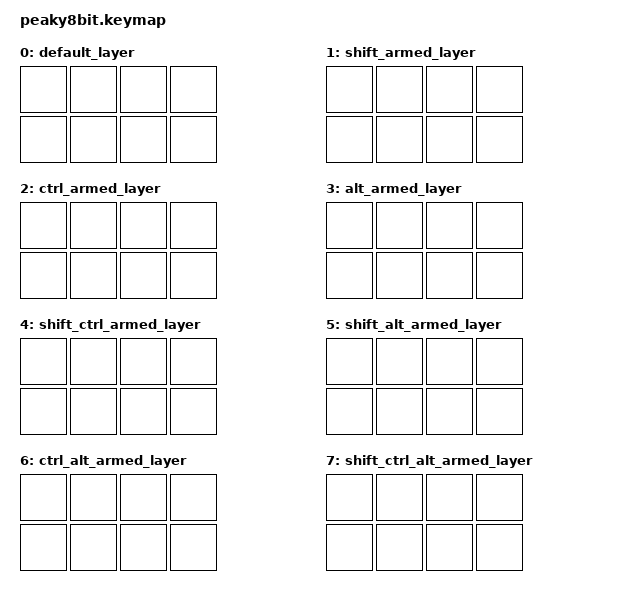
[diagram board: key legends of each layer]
// AUTO-GENERATED by gen_keymap.py (US layout) — do not edit by hand.
// Regenerate: uv run gen_keymap.py keymap_v04.csv --layout us

#include <behaviors.dtsi>
#include <dt-bindings/zmk/keys.h>
#include <dt-bindings/zmk/bt.h>

/ {

    macros {
        m_s_11: m_s_11 {
            label = "M_S_11";
            compatible = "zmk,behavior-macro";
            #binding-cells = <0>;
            bindings = <&kp LS(A)>, <&to 0>;
        };
        m_c_11: m_c_11 {
            label = "M_C_11";
            compatible = "zmk,behavior-macro";
            #binding-cells = <0>;
            bindings = <&kp LC(A)>, <&to 0>;
        };
        m_s_12: m_s_12 {
            label = "M_S_12";
            compatible = "zmk,behavior-macro";
            #binding-cells = <0>;
            bindings = <&kp LS(B)>, <&to 0>;
        };
        m_c_12: m_c_12 {
            label = "M_C_12";
            compatible = "zmk,behavior-macro";
            #binding-cells = <0>;
            bindings = <&kp LC(B)>, <&to 0>;
        };
        m_s_13: m_s_13 {
            label = "M_S_13";
            compatible = "zmk,behavior-macro";
            #binding-cells = <0>;
            bindings = <&kp LS(C)>, <&to 0>;
        };
        m_c_13: m_c_13 {
            label = "M_C_13";
            compatible = "zmk,behavior-macro";
            #binding-cells = <0>;
            bindings = <&kp LC(C)>, <&to 0>;
        };
        m_s_14: m_s_14 {
            label = "M_S_14";
            compatible = "zmk,behavior-macro";
            #binding-cells = <0>;
            bindings = <&kp LS(D)>, <&to 0>;
        };
        m_c_14: m_c_14 {
            label = "M_C_14";
            compatible = "zmk,behavior-macro";
            #binding-cells = <0>;
            bindings = <&kp LC(D)>, <&to 0>;
        };
        m_s_15: m_s_15 {
            label = "M_S_15";
            compatible = "zmk,behavior-macro";
            #binding-cells = <0>;
            bindings = <&kp LS(E)>, <&to 0>;
        };
        m_c_15: m_c_15 {
            label = "M_C_15";
            compatible = "zmk,behavior-macro";
            #binding-cells = <0>;
            bindings = <&kp LC(E)>, <&to 0>;
        };
        m_s_16: m_s_16 {
            label = "M_S_16";
            compatible = "zmk,behavior-macro";
            #binding-cells = <0>;
            bindings = <&kp LS(F)>, <&to 0>;
        };
        m_c_16: m_c_16 {
            label = "M_C_16";
            compatible = "zmk,behavior-macro";
            #binding-cells = <0>;
            bindings = <&kp LC(F)>, <&to 0>;
        };
        m_s_17: m_s_17 {
            label = "M_S_17";
            compatible = "zmk,behavior-macro";
            #binding-cells = <0>;
            bindings = <&kp LS(G)>, <&to 0>;
        };
        m_c_17: m_c_17 {
            label = "M_C_17";
            compatible = "zmk,behavior-macro";
            #binding-cells = <0>;
            bindings = <&kp LC(G)>, <&to 0>;
        };
        m_s_18: m_s_18 {
            label = "M_S_18";
            compatible = "zmk,behavior-macro";
            #binding-cells = <0>;
            bindings = <&kp LS(H)>, <&to 0>;
        };
        m_c_18: m_c_18 {
            label = "M_C_18";
            compatible = "zmk,behavior-macro";
            #binding-cells = <0>;
            bindings = <&kp LC(H)>, <&to 0>;
        };
        m_s_19: m_s_19 {
            label = "M_S_19";
            compatible = "zmk,behavior-macro";
            #binding-cells = <0>;
            bindings = <&kp LS(I)>, <&to 0>;
        };
        m_c_19: m_c_19 {
            label = "M_C_19";
            compatible = "zmk,behavior-macro";
            #binding-cells = <0>;
            bindings = <&kp LC(I)>, <&to 0>;
        };
        m_s_1a: m_s_1a {
            label = "M_S_1A";
            compatible = "zmk,behavior-macro";
            #binding-cells = <0>;
            bindings = <&kp LS(J)>, <&to 0>;
        };
        m_c_1a: m_c_1a {
            label = "M_C_1A";
            compatible = "zmk,behavior-macro";
            #binding-cells = <0>;
            bindings = <&kp LC(J)>, <&to 0>;
        };
        m_s_1b: m_s_1b {
            label = "M_S_1B";
            compatible = "zmk,behavior-macro";
            #binding-cells = <0>;
            bindings = <&kp LS(K)>, <&to 0>;
        };
        m_c_1b: m_c_1b {
            label = "M_C_1B";
            compatible = "zmk,behavior-macro";
            #binding-cells = <0>;
            bindings = <&kp LC(K)>, <&to 0>;
        };
        m_s_1c: m_s_1c {
            label = "M_S_1C";
            compatible = "zmk,behavior-macro";
            #binding-cells = <0>;
            bindings = <&kp LS(L)>, <&to 0>;
        };
        m_c_1c: m_c_1c {
            label = "M_C_1C";
            compatible = "zmk,behavior-macro";
            #binding-cells = <0>;
            bindings = <&kp LC(L)>, <&to 0>;
        };
        m_s_1d: m_s_1d {
            label = "M_S_1D";
            compatible = "zmk,behavior-macro";
            #binding-cells = <0>;
            bindings = <&kp LS(M)>, <&to 0>;
        };
        m_c_1d: m_c_1d {
            label = "M_C_1D";
            compatible = "zmk,behavior-macro";
            #binding-cells = <0>;
            bindings = <&kp LC(M)>, <&to 0>;
        };
        m_s_1e: m_s_1e {
            label = "M_S_1E";
            compatible = "zmk,behavior-macro";
            #binding-cells = <0>;
            bindings = <&kp COMMA>, <&to 0>;
        };
        m_h_1f: m_h_1f {
            label = "M_H_1F";
            compatible = "zmk,behavior-macro";
            #binding-cells = <0>;
            bindings = <&kp LA(GRAVE)>;
        };
        m_s_1f: m_s_1f {
            label = "M_S_1F";
            compatible = "zmk,behavior-macro";
            #binding-cells = <0>;
            bindings = <&kp LA(GRAVE)>, <&to 0>;
        };
        m_s_21: m_s_21 {
            label = "M_S_21";
            compatible = "zmk,behavior-macro";
            #binding-cells = <0>;
            bindings = <&kp LS(N)>, <&to 0>;
        };
        m_c_21: m_c_21 {
            label = "M_C_21";
            compatible = "zmk,behavior-macro";
            #binding-cells = <0>;
            bindings = <&kp LC(N)>, <&to 0>;
        };
        m_s_22: m_s_22 {
            label = "M_S_22";
            compatible = "zmk,behavior-macro";
            #binding-cells = <0>;
            bindings = <&kp LS(O)>, <&to 0>;
        };
        m_c_22: m_c_22 {
            label = "M_C_22";
            compatible = "zmk,behavior-macro";
            #binding-cells = <0>;
            bindings = <&kp LC(O)>, <&to 0>;
        };
        m_s_23: m_s_23 {
            label = "M_S_23";
            compatible = "zmk,behavior-macro";
            #binding-cells = <0>;
            bindings = <&kp LS(P)>, <&to 0>;
        };
        m_c_23: m_c_23 {
            label = "M_C_23";
            compatible = "zmk,behavior-macro";
            #binding-cells = <0>;
            bindings = <&kp LC(P)>, <&to 0>;
        };
        m_s_24: m_s_24 {
            label = "M_S_24";
            compatible = "zmk,behavior-macro";
            #binding-cells = <0>;
            bindings = <&kp LS(Q)>, <&to 0>;
        };
        m_c_24: m_c_24 {
            label = "M_C_24";
            compatible = "zmk,behavior-macro";
            #binding-cells = <0>;
            bindings = <&kp LC(Q)>, <&to 0>;
        };
        m_s_25: m_s_25 {
            label = "M_S_25";
            compatible = "zmk,behavior-macro";
            #binding-cells = <0>;
            bindings = <&kp LS(R)>, <&to 0>;
        };
        m_c_25: m_c_25 {
            label = "M_C_25";
            compatible = "zmk,behavior-macro";
            #binding-cells = <0>;
            bindings = <&kp LC(R)>, <&to 0>;
        };
        m_s_26: m_s_26 {
            label = "M_S_26";
            compatible = "zmk,behavior-macro";
            #binding-cells = <0>;
            bindings = <&kp LS(S)>, <&to 0>;
        };
        m_c_26: m_c_26 {
            label = "M_C_26";
            compatible = "zmk,behavior-macro";
            #binding-cells = <0>;
            bindings = <&kp LC(S)>, <&to 0>;
        };
        m_s_27: m_s_27 {
            label = "M_S_27";
            compatible = "zmk,behavior-macro";
            #binding-cells = <0>;
            bindings = <&kp LS(T)>, <&to 0>;
        };
        m_c_27: m_c_27 {
            label = "M_C_27";
            compatible = "zmk,behavior-macro";
            #binding-cells = <0>;
            bindings = <&kp LC(T)>, <&to 0>;
        };
        m_s_28: m_s_28 {
            label = "M_S_28";
            compatible = "zmk,behavior-macro";
            #binding-cells = <0>;
            bindings = <&kp LS(U)>, <&to 0>;
        };
        m_c_28: m_c_28 {
            label = "M_C_28";
            compatible = "zmk,behavior-macro";
            #binding-cells = <0>;
            bindings = <&kp LC(U)>, <&to 0>;
        };
        m_s_29: m_s_29 {
            label = "M_S_29";
            compatible = "zmk,behavior-macro";
            #binding-cells = <0>;
            bindings = <&kp LS(V)>, <&to 0>;
        };
        m_c_29: m_c_29 {
            label = "M_C_29";
            compatible = "zmk,behavior-macro";
            #binding-cells = <0>;
            bindings = <&kp LC(V)>, <&to 0>;
        };
        m_s_2a: m_s_2a {
            label = "M_S_2A";
            compatible = "zmk,behavior-macro";
            #binding-cells = <0>;
            bindings = <&kp LS(W)>, <&to 0>;
        };
        m_c_2a: m_c_2a {
            label = "M_C_2A";
            compatible = "zmk,behavior-macro";
            #binding-cells = <0>;
            bindings = <&kp LC(W)>, <&to 0>;
        };
        m_s_2b: m_s_2b {
            label = "M_S_2B";
            compatible = "zmk,behavior-macro";
            #binding-cells = <0>;
            bindings = <&kp LS(X)>, <&to 0>;
        };
        m_c_2b: m_c_2b {
            label = "M_C_2B";
            compatible = "zmk,behavior-macro";
            #binding-cells = <0>;
            bindings = <&kp LC(X)>, <&to 0>;
        };
        m_s_2c: m_s_2c {
            label = "M_S_2C";
            compatible = "zmk,behavior-macro";
            #binding-cells = <0>;
            bindings = <&kp LS(Y)>, <&to 0>;
        };
        m_c_2c: m_c_2c {
            label = "M_C_2C";
            compatible = "zmk,behavior-macro";
            #binding-cells = <0>;
            bindings = <&kp LC(Y)>, <&to 0>;
        };
        m_s_2d: m_s_2d {
            label = "M_S_2D";
            compatible = "zmk,behavior-macro";
            #binding-cells = <0>;
            bindings = <&kp LS(Z)>, <&to 0>;
        };
        m_c_2d: m_c_2d {
            label = "M_C_2D";
            compatible = "zmk,behavior-macro";
            #binding-cells = <0>;
            bindings = <&kp LC(Z)>, <&to 0>;
        };
        m_s_2e: m_s_2e {
            label = "M_S_2E";
            compatible = "zmk,behavior-macro";
            #binding-cells = <0>;
            bindings = <&kp DOT>, <&to 0>;
        };
        m_s_2f: m_s_2f {
            label = "M_S_2F";
            compatible = "zmk,behavior-macro";
            #binding-cells = <0>;
            bindings = <&kp EXCL>, <&to 0>;
        };
        m_s_31: m_s_31 {
            label = "M_S_31";
            compatible = "zmk,behavior-macro";
            #binding-cells = <0>;
            bindings = <&kp QMARK>, <&to 0>;
        };
        m_s_32: m_s_32 {
            label = "M_S_32";
            compatible = "zmk,behavior-macro";
            #binding-cells = <0>;
            bindings = <&kp TILDE>, <&to 0>;
        };
        m_s_33: m_s_33 {
            label = "M_S_33";
            compatible = "zmk,behavior-macro";
            #binding-cells = <0>;
            bindings = <&kp AT>, <&to 0>;
        };
        m_s_34: m_s_34 {
            label = "M_S_34";
            compatible = "zmk,behavior-macro";
            #binding-cells = <0>;
            bindings = <&kp UNDER>, <&to 0>;
        };
        m_s_35: m_s_35 {
            label = "M_S_35";
            compatible = "zmk,behavior-macro";
            #binding-cells = <0>;
            bindings = <&kp DQT>, <&to 0>;
        };
        m_s_36: m_s_36 {
            label = "M_S_36";
            compatible = "zmk,behavior-macro";
            #binding-cells = <0>;
            bindings = <&kp FSLH>, <&to 0>;
        };
        m_s_37: m_s_37 {
            label = "M_S_37";
            compatible = "zmk,behavior-macro";
            #binding-cells = <0>;
            bindings = <&kp STAR>, <&to 0>;
        };
        m_s_38: m_s_38 {
            label = "M_S_38";
            compatible = "zmk,behavior-macro";
            #binding-cells = <0>;
            bindings = <&kp EQUAL>, <&to 0>;
        };
        m_s_39: m_s_39 {
            label = "M_S_39";
            compatible = "zmk,behavior-macro";
            #binding-cells = <0>;
            bindings = <&kp PLUS>, <&to 0>;
        };
        m_s_3a: m_s_3a {
            label = "M_S_3A";
            compatible = "zmk,behavior-macro";
            #binding-cells = <0>;
            bindings = <&kp MINUS>, <&to 0>;
        };
        m_s_3b: m_s_3b {
            label = "M_S_3B";
            compatible = "zmk,behavior-macro";
            #binding-cells = <0>;
            bindings = <&kp PRCNT>, <&to 0>;
        };
        m_s_3c: m_s_3c {
            label = "M_S_3C";
            compatible = "zmk,behavior-macro";
            #binding-cells = <0>;
            bindings = <&kp GRAVE>, <&to 0>;
        };
        m_s_3d: m_s_3d {
            label = "M_S_3D";
            compatible = "zmk,behavior-macro";
            #binding-cells = <0>;
            bindings = <&kp BSLH>, <&to 0>;
        };
        m_s_41: m_s_41 {
            label = "M_S_41";
            compatible = "zmk,behavior-macro";
            #binding-cells = <0>;
            bindings = <&kp AMPS>, <&to 0>;
        };
        m_s_42: m_s_42 {
            label = "M_S_42";
            compatible = "zmk,behavior-macro";
            #binding-cells = <0>;
            bindings = <&kp HASH>, <&to 0>;
        };
        m_s_43: m_s_43 {
            label = "M_S_43";
            compatible = "zmk,behavior-macro";
            #binding-cells = <0>;
            bindings = <&kp DLLR>, <&to 0>;
        };
        m_s_44: m_s_44 {
            label = "M_S_44";
            compatible = "zmk,behavior-macro";
            #binding-cells = <0>;
            bindings = <&kp SQT>, <&to 0>;
        };
        m_s_45: m_s_45 {
            label = "M_S_45";
            compatible = "zmk,behavior-macro";
            #binding-cells = <0>;
            bindings = <&kp CARET>, <&to 0>;
        };
        m_s_46: m_s_46 {
            label = "M_S_46";
            compatible = "zmk,behavior-macro";
            #binding-cells = <0>;
            bindings = <&kp LPAR>, <&to 0>;
        };
        m_s_47: m_s_47 {
            label = "M_S_47";
            compatible = "zmk,behavior-macro";
            #binding-cells = <0>;
            bindings = <&kp RPAR>, <&to 0>;
        };
        m_s_48: m_s_48 {
            label = "M_S_48";
            compatible = "zmk,behavior-macro";
            #binding-cells = <0>;
            bindings = <&kp LBKT>, <&to 0>;
        };
        m_s_49: m_s_49 {
            label = "M_S_49";
            compatible = "zmk,behavior-macro";
            #binding-cells = <0>;
            bindings = <&kp LBRC>, <&to 0>;
        };
        m_s_4a: m_s_4a {
            label = "M_S_4A";
            compatible = "zmk,behavior-macro";
            #binding-cells = <0>;
            bindings = <&kp RBKT>, <&to 0>;
        };
        m_s_4b: m_s_4b {
            label = "M_S_4B";
            compatible = "zmk,behavior-macro";
            #binding-cells = <0>;
            bindings = <&kp RBRC>, <&to 0>;
        };
        m_s_4c: m_s_4c {
            label = "M_S_4C";
            compatible = "zmk,behavior-macro";
            #binding-cells = <0>;
            bindings = <&kp LT>, <&to 0>;
        };
        m_s_4d: m_s_4d {
            label = "M_S_4D";
            compatible = "zmk,behavior-macro";
            #binding-cells = <0>;
            bindings = <&kp GT>, <&to 0>;
        };
        m_s_4e: m_s_4e {
            label = "M_S_4E";
            compatible = "zmk,behavior-macro";
            #binding-cells = <0>;
            bindings = <&kp SEMI>, <&to 0>;
        };
        m_s_4f: m_s_4f {
            label = "M_S_4F";
            compatible = "zmk,behavior-macro";
            #binding-cells = <0>;
            bindings = <&kp COLON>, <&to 0>;
        };
        m_s_91: m_s_91 {
            label = "M_S_91";
            compatible = "zmk,behavior-macro";
            #binding-cells = <0>;
            bindings = <&kp F1>, <&to 0>;
        };
        m_s_92: m_s_92 {
            label = "M_S_92";
            compatible = "zmk,behavior-macro";
            #binding-cells = <0>;
            bindings = <&kp F2>, <&to 0>;
        };
        m_s_93: m_s_93 {
            label = "M_S_93";
            compatible = "zmk,behavior-macro";
            #binding-cells = <0>;
            bindings = <&kp F3>, <&to 0>;
        };
        m_s_94: m_s_94 {
            label = "M_S_94";
            compatible = "zmk,behavior-macro";
            #binding-cells = <0>;
            bindings = <&kp F4>, <&to 0>;
        };
        m_s_95: m_s_95 {
            label = "M_S_95";
            compatible = "zmk,behavior-macro";
            #binding-cells = <0>;
            bindings = <&kp F5>, <&to 0>;
        };
        m_s_96: m_s_96 {
            label = "M_S_96";
            compatible = "zmk,behavior-macro";
            #binding-cells = <0>;
            bindings = <&kp F6>, <&to 0>;
        };
        m_s_97: m_s_97 {
            label = "M_S_97";
            compatible = "zmk,behavior-macro";
            #binding-cells = <0>;
            bindings = <&kp F7>, <&to 0>;
        };
        m_s_98: m_s_98 {
            label = "M_S_98";
            compatible = "zmk,behavior-macro";
            #binding-cells = <0>;
            bindings = <&kp F8>, <&to 0>;
        };
        m_s_99: m_s_99 {
            label = "M_S_99";
            compatible = "zmk,behavior-macro";
            #binding-cells = <0>;
            bindings = <&kp F9>, <&to 0>;
        };
        m_s_9a: m_s_9a {
            label = "M_S_9A";
            compatible = "zmk,behavior-macro";
            #binding-cells = <0>;
            bindings = <&kp F10>, <&to 0>;
        };
        m_s_9b: m_s_9b {
            label = "M_S_9B";
            compatible = "zmk,behavior-macro";
            #binding-cells = <0>;
            bindings = <&kp F11>, <&to 0>;
        };
        m_s_9c: m_s_9c {
            label = "M_S_9C";
            compatible = "zmk,behavior-macro";
            #binding-cells = <0>;
            bindings = <&kp F12>, <&to 0>;
        };
    };

    combos {
        compatible = "zmk,combos";
        c_l0_0_1 {
            timeout-ms = <100>;
            key-positions = <0 1>;
            layers = <0>;
            bindings = <&kp DOWN>;
        };
        c_l0_0_1_2 {
            timeout-ms = <100>;
            key-positions = <0 1 2>;
            layers = <0>;
            bindings = <&kp RIGHT>;
        };
        c_l0_0_1_2_3 {
            timeout-ms = <100>;
            key-positions = <0 1 2 3>;
            layers = <0>;
            bindings = <&kp RET>;
        };
        c_l0_0_1_2_3_4_5_6_7 {
            timeout-ms = <100>;
            key-positions = <0 1 2 3 4 5 6 7>;
            layers = <0>;
            bindings = <&kp LGUI>;
        };
        c_l0_0_1_3 {
            timeout-ms = <100>;
            key-positions = <0 1 3>;
            layers = <0>;
            bindings = <&kp LEFT>;
        };
        c_l0_0_1_4_7 {
            timeout-ms = <100>;
            key-positions = <0 1 4 7>;
            layers = <0>;
            bindings = <&bt BT_CLR>;
        };
        c_l0_0_1_5 {
            timeout-ms = <100>;
            key-positions = <0 1 5>;
            layers = <0>;
            bindings = <&bt BT_SEL 3>;
        };
        c_l0_0_1_5_7 {
            timeout-ms = <100>;
            key-positions = <0 1 5 7>;
            layers = <0>;
            bindings = <&bt BT_SEL 4>;
        };
        c_l0_0_1_6 {
            timeout-ms = <100>;
            key-positions = <0 1 6>;
            layers = <0>;
            bindings = <&bt BT_SEL 1>;
        };
        c_l0_0_1_6_7 {
            timeout-ms = <100>;
            key-positions = <0 1 6 7>;
            layers = <0>;
            bindings = <&bt BT_SEL 2>;
        };
        c_l0_0_1_7 {
            timeout-ms = <100>;
            key-positions = <0 1 7>;
            layers = <0>;
            bindings = <&bt BT_SEL 0>;
        };
        c_l0_0_2_3 {
            timeout-ms = <100>;
            key-positions = <0 2 3>;
            layers = <0>;
            bindings = <&kp UP>;
        };
        c_l0_0_3_4 {
            timeout-ms = <100>;
            key-positions = <0 3 4>;
            layers = <0>;
            bindings = <&kp N8>;
        };
        c_l0_0_3_4_6 {
            timeout-ms = <100>;
            key-positions = <0 3 4 6>;
            layers = <0>;
            bindings = <&kp N0>;
        };
        c_l0_0_3_4_7 {
            timeout-ms = <100>;
            key-positions = <0 3 4 7>;
            layers = <0>;
            bindings = <&kp N9>;
        };
        c_l0_0_3_5 {
            timeout-ms = <100>;
            key-positions = <0 3 5>;
            layers = <0>;
            bindings = <&kp N4>;
        };
        c_l0_0_3_5_6 {
            timeout-ms = <100>;
            key-positions = <0 3 5 6>;
            layers = <0>;
            bindings = <&kp N6>;
        };
        c_l0_0_3_5_6_7 {
            timeout-ms = <100>;
            key-positions = <0 3 5 6 7>;
            layers = <0>;
            bindings = <&kp N7>;
        };
        c_l0_0_3_5_7 {
            timeout-ms = <100>;
            key-positions = <0 3 5 7>;
            layers = <0>;
            bindings = <&kp N5>;
        };
        c_l0_0_3_6 {
            timeout-ms = <100>;
            key-positions = <0 3 6>;
            layers = <0>;
            bindings = <&kp N2>;
        };
        c_l0_0_3_6_7 {
            timeout-ms = <100>;
            key-positions = <0 3 6 7>;
            layers = <0>;
            bindings = <&kp N3>;
        };
        c_l0_0_3_7 {
            timeout-ms = <100>;
            key-positions = <0 3 7>;
            layers = <0>;
            bindings = <&kp N1>;
        };
        c_l0_0_4 {
            timeout-ms = <100>;
            key-positions = <0 4>;
            layers = <0>;
            bindings = <&to 1>;
        };
        c_l0_0_4_5 {
            timeout-ms = <100>;
            key-positions = <0 4 5>;
            layers = <0>;
            bindings = <&to 4>;
        };
        c_l0_0_4_5_6 {
            timeout-ms = <100>;
            key-positions = <0 4 5 6>;
            layers = <0>;
            bindings = <&to 7>;
        };
        c_l0_0_4_6 {
            timeout-ms = <100>;
            key-positions = <0 4 6>;
            layers = <0>;
            bindings = <&to 5>;
        };
        c_l0_0_5 {
            timeout-ms = <100>;
            key-positions = <0 5>;
            layers = <0>;
            bindings = <&to 2>;
        };
        c_l0_0_5_6 {
            timeout-ms = <100>;
            key-positions = <0 5 6>;
            layers = <0>;
            bindings = <&to 6>;
        };
        c_l0_0_6 {
            timeout-ms = <100>;
            key-positions = <0 6>;
            layers = <0>;
            bindings = <&to 3>;
        };
        c_l0_1_4 {
            timeout-ms = <100>;
            key-positions = <1 4>;
            layers = <0>;
            bindings = <&kp LBKT>;
        };
        c_l0_1_4_5 {
            timeout-ms = <100>;
            key-positions = <1 4 5>;
            layers = <0>;
            bindings = <&kp LT>;
        };
        c_l0_1_4_5_6 {
            timeout-ms = <100>;
            key-positions = <1 4 5 6>;
            layers = <0>;
            bindings = <&kp SEMI>;
        };
        c_l0_1_4_5_6_7 {
            timeout-ms = <100>;
            key-positions = <1 4 5 6 7>;
            layers = <0>;
            bindings = <&kp COLON>;
        };
        c_l0_1_4_5_7 {
            timeout-ms = <100>;
            key-positions = <1 4 5 7>;
            layers = <0>;
            bindings = <&kp GT>;
        };
        c_l0_1_4_6 {
            timeout-ms = <100>;
            key-positions = <1 4 6>;
            layers = <0>;
            bindings = <&kp RBKT>;
        };
        c_l0_1_4_6_7 {
            timeout-ms = <100>;
            key-positions = <1 4 6 7>;
            layers = <0>;
            bindings = <&kp RBRC>;
        };
        c_l0_1_4_7 {
            timeout-ms = <100>;
            key-positions = <1 4 7>;
            layers = <0>;
            bindings = <&kp LBRC>;
        };
        c_l0_1_5 {
            timeout-ms = <100>;
            key-positions = <1 5>;
            layers = <0>;
            bindings = <&kp SQT>;
        };
        c_l0_1_5_6 {
            timeout-ms = <100>;
            key-positions = <1 5 6>;
            layers = <0>;
            bindings = <&kp LPAR>;
        };
        c_l0_1_5_6_7 {
            timeout-ms = <100>;
            key-positions = <1 5 6 7>;
            layers = <0>;
            bindings = <&kp RPAR>;
        };
        c_l0_1_5_7 {
            timeout-ms = <100>;
            key-positions = <1 5 7>;
            layers = <0>;
            bindings = <&kp CARET>;
        };
        c_l0_1_6 {
            timeout-ms = <100>;
            key-positions = <1 6>;
            layers = <0>;
            bindings = <&kp HASH>;
        };
        c_l0_1_6_7 {
            timeout-ms = <100>;
            key-positions = <1 6 7>;
            layers = <0>;
            bindings = <&kp DLLR>;
        };
        c_l0_1_7 {
            timeout-ms = <100>;
            key-positions = <1 7>;
            layers = <0>;
            bindings = <&kp AMPS>;
        };
        c_l0_2_3_4 {
            timeout-ms = <100>;
            key-positions = <2 3 4>;
            layers = <0>;
            bindings = <&kp EQUAL>;
        };
        c_l0_2_3_4_5 {
            timeout-ms = <100>;
            key-positions = <2 3 4 5>;
            layers = <0>;
            bindings = <&kp GRAVE>;
        };
        c_l0_2_3_4_5_6 {
            timeout-ms = <100>;
            key-positions = <2 3 4 5 6>;
            layers = <0>;
            bindings = <&kp LS(TAB)>;
        };
        c_l0_2_3_4_5_6_7 {
            timeout-ms = <100>;
            key-positions = <2 3 4 5 6 7>;
            layers = <0>;
            bindings = <&kp LC(TAB)>;
        };
        c_l0_2_3_4_5_7 {
            timeout-ms = <100>;
            key-positions = <2 3 4 5 7>;
            layers = <0>;
            bindings = <&kp BSLH>;
        };
        c_l0_2_3_4_6 {
            timeout-ms = <100>;
            key-positions = <2 3 4 6>;
            layers = <0>;
            bindings = <&kp MINUS>;
        };
        c_l0_2_3_4_6_7 {
            timeout-ms = <100>;
            key-positions = <2 3 4 6 7>;
            layers = <0>;
            bindings = <&kp PRCNT>;
        };
        c_l0_2_3_4_7 {
            timeout-ms = <100>;
            key-positions = <2 3 4 7>;
            layers = <0>;
            bindings = <&kp PLUS>;
        };
        c_l0_2_3_5 {
            timeout-ms = <100>;
            key-positions = <2 3 5>;
            layers = <0>;
            bindings = <&kp UNDER>;
        };
        c_l0_2_3_5_6 {
            timeout-ms = <100>;
            key-positions = <2 3 5 6>;
            layers = <0>;
            bindings = <&kp FSLH>;
        };
        c_l0_2_3_5_6_7 {
            timeout-ms = <100>;
            key-positions = <2 3 5 6 7>;
            layers = <0>;
            bindings = <&kp STAR>;
        };
        c_l0_2_3_5_7 {
            timeout-ms = <100>;
            key-positions = <2 3 5 7>;
            layers = <0>;
            bindings = <&kp DQT>;
        };
        c_l0_2_3_6 {
            timeout-ms = <100>;
            key-positions = <2 3 6>;
            layers = <0>;
            bindings = <&kp TILDE>;
        };
        c_l0_2_3_6_7 {
            timeout-ms = <100>;
            key-positions = <2 3 6 7>;
            layers = <0>;
            bindings = <&kp AT>;
        };
        c_l0_2_3_7 {
            timeout-ms = <100>;
            key-positions = <2 3 7>;
            layers = <0>;
            bindings = <&kp QMARK>;
        };
        c_l0_2_4 {
            timeout-ms = <100>;
            key-positions = <2 4>;
            layers = <0>;
            bindings = <&kp U>;
        };
        c_l0_2_4_5 {
            timeout-ms = <100>;
            key-positions = <2 4 5>;
            layers = <0>;
            bindings = <&kp Y>;
        };
        c_l0_2_4_5_6 {
            timeout-ms = <100>;
            key-positions = <2 4 5 6>;
            layers = <0>;
            bindings = <&kp DOT>;
        };
        c_l0_2_4_5_6_7 {
            timeout-ms = <100>;
            key-positions = <2 4 5 6 7>;
            layers = <0>;
            bindings = <&kp EXCL>;
        };
        c_l0_2_4_5_7 {
            timeout-ms = <100>;
            key-positions = <2 4 5 7>;
            layers = <0>;
            bindings = <&kp Z>;
        };
        c_l0_2_4_6 {
            timeout-ms = <100>;
            key-positions = <2 4 6>;
            layers = <0>;
            bindings = <&kp W>;
        };
        c_l0_2_4_6_7 {
            timeout-ms = <100>;
            key-positions = <2 4 6 7>;
            layers = <0>;
            bindings = <&kp X>;
        };
        c_l0_2_4_7 {
            timeout-ms = <100>;
            key-positions = <2 4 7>;
            layers = <0>;
            bindings = <&kp V>;
        };
        c_l0_2_5 {
            timeout-ms = <100>;
            key-positions = <2 5>;
            layers = <0>;
            bindings = <&kp Q>;
        };
        c_l0_2_5_6 {
            timeout-ms = <100>;
            key-positions = <2 5 6>;
            layers = <0>;
            bindings = <&kp S>;
        };
        c_l0_2_5_6_7 {
            timeout-ms = <100>;
            key-positions = <2 5 6 7>;
            layers = <0>;
            bindings = <&kp T>;
        };
        c_l0_2_5_7 {
            timeout-ms = <100>;
            key-positions = <2 5 7>;
            layers = <0>;
            bindings = <&kp R>;
        };
        c_l0_2_6 {
            timeout-ms = <100>;
            key-positions = <2 6>;
            layers = <0>;
            bindings = <&kp O>;
        };
        c_l0_2_6_7 {
            timeout-ms = <100>;
            key-positions = <2 6 7>;
            layers = <0>;
            bindings = <&kp P>;
        };
        c_l0_2_7 {
            timeout-ms = <100>;
            key-positions = <2 7>;
            layers = <0>;
            bindings = <&kp N>;
        };
        c_l0_3_4 {
            timeout-ms = <100>;
            key-positions = <3 4>;
            layers = <0>;
            bindings = <&kp H>;
        };
        c_l0_3_4_5 {
            timeout-ms = <100>;
            key-positions = <3 4 5>;
            layers = <0>;
            bindings = <&kp L>;
        };
        c_l0_3_4_5_6 {
            timeout-ms = <100>;
            key-positions = <3 4 5 6>;
            layers = <0>;
            bindings = <&kp COMMA>;
        };
        c_l0_3_4_5_6_7 {
            timeout-ms = <100>;
            key-positions = <3 4 5 6 7>;
            layers = <0>;
            bindings = <&m_h_1f>;
        };
        c_l0_3_4_5_7 {
            timeout-ms = <100>;
            key-positions = <3 4 5 7>;
            layers = <0>;
            bindings = <&kp M>;
        };
        c_l0_3_4_6 {
            timeout-ms = <100>;
            key-positions = <3 4 6>;
            layers = <0>;
            bindings = <&kp J>;
        };
        c_l0_3_4_6_7 {
            timeout-ms = <100>;
            key-positions = <3 4 6 7>;
            layers = <0>;
            bindings = <&kp K>;
        };
        c_l0_3_4_7 {
            timeout-ms = <100>;
            key-positions = <3 4 7>;
            layers = <0>;
            bindings = <&kp I>;
        };
        c_l0_3_5 {
            timeout-ms = <100>;
            key-positions = <3 5>;
            layers = <0>;
            bindings = <&kp D>;
        };
        c_l0_3_5_6 {
            timeout-ms = <100>;
            key-positions = <3 5 6>;
            layers = <0>;
            bindings = <&kp F>;
        };
        c_l0_3_5_6_7 {
            timeout-ms = <100>;
            key-positions = <3 5 6 7>;
            layers = <0>;
            bindings = <&kp G>;
        };
        c_l0_3_5_7 {
            timeout-ms = <100>;
            key-positions = <3 5 7>;
            layers = <0>;
            bindings = <&kp E>;
        };
        c_l0_3_6 {
            timeout-ms = <100>;
            key-positions = <3 6>;
            layers = <0>;
            bindings = <&kp B>;
        };
        c_l0_3_6_7 {
            timeout-ms = <100>;
            key-positions = <3 6 7>;
            layers = <0>;
            bindings = <&kp C>;
        };
        c_l0_3_7 {
            timeout-ms = <100>;
            key-positions = <3 7>;
            layers = <0>;
            bindings = <&kp A>;
        };
        c_l0_4_5 {
            timeout-ms = <100>;
            key-positions = <4 5>;
            layers = <0>;
            bindings = <&kp SPACE>;
        };
        c_l0_4_5_6 {
            timeout-ms = <100>;
            key-positions = <4 5 6>;
            layers = <0>;
            bindings = <&kp ESC>;
        };
        c_l0_4_5_6_7 {
            timeout-ms = <100>;
            key-positions = <4 5 6 7>;
            layers = <0>;
            bindings = <&kp DEL>;
        };
        c_l0_4_5_7 {
            timeout-ms = <100>;
            key-positions = <4 5 7>;
            layers = <0>;
            bindings = <&kp K_APP>;
        };
        c_l0_4_6_7 {
            timeout-ms = <100>;
            key-positions = <4 6 7>;
            layers = <0>;
            bindings = <&kp BSPC>;
        };
        c_l0_4_7 {
            timeout-ms = <100>;
            key-positions = <4 7>;
            layers = <0>;
            bindings = <&kp TAB>;
        };
        c_l1_0_3_4 {
            timeout-ms = <100>;
            key-positions = <0 3 4>;
            layers = <1>;
            bindings = <&m_s_98>;
        };
        c_l1_0_3_4_5 {
            timeout-ms = <100>;
            key-positions = <0 3 4 5>;
            layers = <1>;
            bindings = <&m_s_9c>;
        };
        c_l1_0_3_4_6 {
            timeout-ms = <100>;
            key-positions = <0 3 4 6>;
            layers = <1>;
            bindings = <&m_s_9a>;
        };
        c_l1_0_3_4_6_7 {
            timeout-ms = <100>;
            key-positions = <0 3 4 6 7>;
            layers = <1>;
            bindings = <&m_s_9b>;
        };
        c_l1_0_3_4_7 {
            timeout-ms = <100>;
            key-positions = <0 3 4 7>;
            layers = <1>;
            bindings = <&m_s_99>;
        };
        c_l1_0_3_5 {
            timeout-ms = <100>;
            key-positions = <0 3 5>;
            layers = <1>;
            bindings = <&m_s_94>;
        };
        c_l1_0_3_5_6 {
            timeout-ms = <100>;
            key-positions = <0 3 5 6>;
            layers = <1>;
            bindings = <&m_s_96>;
        };
        c_l1_0_3_5_6_7 {
            timeout-ms = <100>;
            key-positions = <0 3 5 6 7>;
            layers = <1>;
            bindings = <&m_s_97>;
        };
        c_l1_0_3_5_7 {
            timeout-ms = <100>;
            key-positions = <0 3 5 7>;
            layers = <1>;
            bindings = <&m_s_95>;
        };
        c_l1_0_3_6 {
            timeout-ms = <100>;
            key-positions = <0 3 6>;
            layers = <1>;
            bindings = <&m_s_92>;
        };
        c_l1_0_3_6_7 {
            timeout-ms = <100>;
            key-positions = <0 3 6 7>;
            layers = <1>;
            bindings = <&m_s_93>;
        };
        c_l1_0_3_7 {
            timeout-ms = <100>;
            key-positions = <0 3 7>;
            layers = <1>;
            bindings = <&m_s_91>;
        };
        c_l1_1_4 {
            timeout-ms = <100>;
            key-positions = <1 4>;
            layers = <1>;
            bindings = <&m_s_48>;
        };
        c_l1_1_4_5 {
            timeout-ms = <100>;
            key-positions = <1 4 5>;
            layers = <1>;
            bindings = <&m_s_4c>;
        };
        c_l1_1_4_5_6 {
            timeout-ms = <100>;
            key-positions = <1 4 5 6>;
            layers = <1>;
            bindings = <&m_s_4e>;
        };
        c_l1_1_4_5_6_7 {
            timeout-ms = <100>;
            key-positions = <1 4 5 6 7>;
            layers = <1>;
            bindings = <&m_s_4f>;
        };
        c_l1_1_4_5_7 {
            timeout-ms = <100>;
            key-positions = <1 4 5 7>;
            layers = <1>;
            bindings = <&m_s_4d>;
        };
        c_l1_1_4_6 {
            timeout-ms = <100>;
            key-positions = <1 4 6>;
            layers = <1>;
            bindings = <&m_s_4a>;
        };
        c_l1_1_4_6_7 {
            timeout-ms = <100>;
            key-positions = <1 4 6 7>;
            layers = <1>;
            bindings = <&m_s_4b>;
        };
        c_l1_1_4_7 {
            timeout-ms = <100>;
            key-positions = <1 4 7>;
            layers = <1>;
            bindings = <&m_s_49>;
        };
        c_l1_1_5 {
            timeout-ms = <100>;
            key-positions = <1 5>;
            layers = <1>;
            bindings = <&m_s_44>;
        };
        c_l1_1_5_6 {
            timeout-ms = <100>;
            key-positions = <1 5 6>;
            layers = <1>;
            bindings = <&m_s_46>;
        };
        c_l1_1_5_6_7 {
            timeout-ms = <100>;
            key-positions = <1 5 6 7>;
            layers = <1>;
            bindings = <&m_s_47>;
        };
        c_l1_1_5_7 {
            timeout-ms = <100>;
            key-positions = <1 5 7>;
            layers = <1>;
            bindings = <&m_s_45>;
        };
        c_l1_1_6 {
            timeout-ms = <100>;
            key-positions = <1 6>;
            layers = <1>;
            bindings = <&m_s_42>;
        };
        c_l1_1_6_7 {
            timeout-ms = <100>;
            key-positions = <1 6 7>;
            layers = <1>;
            bindings = <&m_s_43>;
        };
        c_l1_1_7 {
            timeout-ms = <100>;
            key-positions = <1 7>;
            layers = <1>;
            bindings = <&m_s_41>;
        };
        c_l1_2_3_4 {
            timeout-ms = <100>;
            key-positions = <2 3 4>;
            layers = <1>;
            bindings = <&m_s_38>;
        };
        c_l1_2_3_4_5 {
            timeout-ms = <100>;
            key-positions = <2 3 4 5>;
            layers = <1>;
            bindings = <&m_s_3c>;
        };
        c_l1_2_3_4_5_7 {
            timeout-ms = <100>;
            key-positions = <2 3 4 5 7>;
            layers = <1>;
            bindings = <&m_s_3d>;
        };
        c_l1_2_3_4_6 {
            timeout-ms = <100>;
            key-positions = <2 3 4 6>;
            layers = <1>;
            bindings = <&m_s_3a>;
        };
        c_l1_2_3_4_6_7 {
            timeout-ms = <100>;
            key-positions = <2 3 4 6 7>;
            layers = <1>;
            bindings = <&m_s_3b>;
        };
        c_l1_2_3_4_7 {
            timeout-ms = <100>;
            key-positions = <2 3 4 7>;
            layers = <1>;
            bindings = <&m_s_39>;
        };
        c_l1_2_3_5 {
            timeout-ms = <100>;
            key-positions = <2 3 5>;
            layers = <1>;
            bindings = <&m_s_34>;
        };
        c_l1_2_3_5_6 {
            timeout-ms = <100>;
            key-positions = <2 3 5 6>;
            layers = <1>;
            bindings = <&m_s_36>;
        };
        c_l1_2_3_5_6_7 {
            timeout-ms = <100>;
            key-positions = <2 3 5 6 7>;
            layers = <1>;
            bindings = <&m_s_37>;
        };
        c_l1_2_3_5_7 {
            timeout-ms = <100>;
            key-positions = <2 3 5 7>;
            layers = <1>;
            bindings = <&m_s_35>;
        };
        c_l1_2_3_6 {
            timeout-ms = <100>;
            key-positions = <2 3 6>;
            layers = <1>;
            bindings = <&m_s_32>;
        };
        c_l1_2_3_6_7 {
            timeout-ms = <100>;
            key-positions = <2 3 6 7>;
            layers = <1>;
            bindings = <&m_s_33>;
        };
        c_l1_2_3_7 {
            timeout-ms = <100>;
            key-positions = <2 3 7>;
            layers = <1>;
            bindings = <&m_s_31>;
        };
        c_l1_2_4 {
            timeout-ms = <100>;
            key-positions = <2 4>;
            layers = <1>;
            bindings = <&m_s_28>;
        };
        c_l1_2_4_5 {
            timeout-ms = <100>;
            key-positions = <2 4 5>;
            layers = <1>;
            bindings = <&m_s_2c>;
        };
        c_l1_2_4_5_6 {
            timeout-ms = <100>;
            key-positions = <2 4 5 6>;
            layers = <1>;
            bindings = <&m_s_2e>;
        };
        c_l1_2_4_5_6_7 {
            timeout-ms = <100>;
            key-positions = <2 4 5 6 7>;
            layers = <1>;
            bindings = <&m_s_2f>;
        };
        c_l1_2_4_5_7 {
            timeout-ms = <100>;
            key-positions = <2 4 5 7>;
            layers = <1>;
            bindings = <&m_s_2d>;
        };
        c_l1_2_4_6 {
            timeout-ms = <100>;
            key-positions = <2 4 6>;
            layers = <1>;
            bindings = <&m_s_2a>;
        };
        c_l1_2_4_6_7 {
            timeout-ms = <100>;
            key-positions = <2 4 6 7>;
            layers = <1>;
            bindings = <&m_s_2b>;
        };
        c_l1_2_4_7 {
            timeout-ms = <100>;
            key-positions = <2 4 7>;
            layers = <1>;
            bindings = <&m_s_29>;
        };
        c_l1_2_5 {
            timeout-ms = <100>;
            key-positions = <2 5>;
            layers = <1>;
            bindings = <&m_s_24>;
        };
        c_l1_2_5_6 {
            timeout-ms = <100>;
            key-positions = <2 5 6>;
            layers = <1>;
            bindings = <&m_s_26>;
        };
        c_l1_2_5_6_7 {
            timeout-ms = <100>;
            key-positions = <2 5 6 7>;
            layers = <1>;
            bindings = <&m_s_27>;
        };
        c_l1_2_5_7 {
            timeout-ms = <100>;
            key-positions = <2 5 7>;
            layers = <1>;
            bindings = <&m_s_25>;
        };
        c_l1_2_6 {
            timeout-ms = <100>;
            key-positions = <2 6>;
            layers = <1>;
            bindings = <&m_s_22>;
        };
        c_l1_2_6_7 {
            timeout-ms = <100>;
            key-positions = <2 6 7>;
            layers = <1>;
            bindings = <&m_s_23>;
        };
        c_l1_2_7 {
            timeout-ms = <100>;
            key-positions = <2 7>;
            layers = <1>;
            bindings = <&m_s_21>;
        };
        c_l1_3_4 {
            timeout-ms = <100>;
            key-positions = <3 4>;
            layers = <1>;
            bindings = <&m_s_18>;
        };
        c_l1_3_4_5 {
            timeout-ms = <100>;
            key-positions = <3 4 5>;
            layers = <1>;
            bindings = <&m_s_1c>;
        };
        c_l1_3_4_5_6 {
            timeout-ms = <100>;
            key-positions = <3 4 5 6>;
            layers = <1>;
            bindings = <&m_s_1e>;
        };
        c_l1_3_4_5_6_7 {
            timeout-ms = <100>;
            key-positions = <3 4 5 6 7>;
            layers = <1>;
            bindings = <&m_s_1f>;
        };
        c_l1_3_4_5_7 {
            timeout-ms = <100>;
            key-positions = <3 4 5 7>;
            layers = <1>;
            bindings = <&m_s_1d>;
        };
        c_l1_3_4_6 {
            timeout-ms = <100>;
            key-positions = <3 4 6>;
            layers = <1>;
            bindings = <&m_s_1a>;
        };
        c_l1_3_4_6_7 {
            timeout-ms = <100>;
            key-positions = <3 4 6 7>;
            layers = <1>;
            bindings = <&m_s_1b>;
        };
        c_l1_3_4_7 {
            timeout-ms = <100>;
            key-positions = <3 4 7>;
            layers = <1>;
            bindings = <&m_s_19>;
        };
        c_l1_3_5 {
            timeout-ms = <100>;
            key-positions = <3 5>;
            layers = <1>;
            bindings = <&m_s_14>;
        };
        c_l1_3_5_6 {
            timeout-ms = <100>;
            key-positions = <3 5 6>;
            layers = <1>;
            bindings = <&m_s_16>;
        };
        c_l1_3_5_6_7 {
            timeout-ms = <100>;
            key-positions = <3 5 6 7>;
            layers = <1>;
            bindings = <&m_s_17>;
        };
        c_l1_3_5_7 {
            timeout-ms = <100>;
            key-positions = <3 5 7>;
            layers = <1>;
            bindings = <&m_s_15>;
        };
        c_l1_3_6 {
            timeout-ms = <100>;
            key-positions = <3 6>;
            layers = <1>;
            bindings = <&m_s_12>;
        };
        c_l1_3_6_7 {
            timeout-ms = <100>;
            key-positions = <3 6 7>;
            layers = <1>;
            bindings = <&m_s_13>;
        };
        c_l1_3_7 {
            timeout-ms = <100>;
            key-positions = <3 7>;
            layers = <1>;
            bindings = <&m_s_11>;
        };
        c_l1_4_5_6 {
            timeout-ms = <100>;
            key-positions = <4 5 6>;
            layers = <1>;
            bindings = <&to 0>;
        };
        c_l2_2_4 {
            timeout-ms = <100>;
            key-positions = <2 4>;
            layers = <2>;
            bindings = <&m_c_28>;
        };
        c_l2_2_4_5 {
            timeout-ms = <100>;
            key-positions = <2 4 5>;
            layers = <2>;
            bindings = <&m_c_2c>;
        };
        c_l2_2_4_5_7 {
            timeout-ms = <100>;
            key-positions = <2 4 5 7>;
            layers = <2>;
            bindings = <&m_c_2d>;
        };
        c_l2_2_4_6 {
            timeout-ms = <100>;
            key-positions = <2 4 6>;
            layers = <2>;
            bindings = <&m_c_2a>;
        };
        c_l2_2_4_6_7 {
            timeout-ms = <100>;
            key-positions = <2 4 6 7>;
            layers = <2>;
            bindings = <&m_c_2b>;
        };
        c_l2_2_4_7 {
            timeout-ms = <100>;
            key-positions = <2 4 7>;
            layers = <2>;
            bindings = <&m_c_29>;
        };
        c_l2_2_5 {
            timeout-ms = <100>;
            key-positions = <2 5>;
            layers = <2>;
            bindings = <&m_c_24>;
        };
        c_l2_2_5_6 {
            timeout-ms = <100>;
            key-positions = <2 5 6>;
            layers = <2>;
            bindings = <&m_c_26>;
        };
        c_l2_2_5_6_7 {
            timeout-ms = <100>;
            key-positions = <2 5 6 7>;
            layers = <2>;
            bindings = <&m_c_27>;
        };
        c_l2_2_5_7 {
            timeout-ms = <100>;
            key-positions = <2 5 7>;
            layers = <2>;
            bindings = <&m_c_25>;
        };
        c_l2_2_6 {
            timeout-ms = <100>;
            key-positions = <2 6>;
            layers = <2>;
            bindings = <&m_c_22>;
        };
        c_l2_2_6_7 {
            timeout-ms = <100>;
            key-positions = <2 6 7>;
            layers = <2>;
            bindings = <&m_c_23>;
        };
        c_l2_2_7 {
            timeout-ms = <100>;
            key-positions = <2 7>;
            layers = <2>;
            bindings = <&m_c_21>;
        };
        c_l2_3_4 {
            timeout-ms = <100>;
            key-positions = <3 4>;
            layers = <2>;
            bindings = <&m_c_18>;
        };
        c_l2_3_4_5 {
            timeout-ms = <100>;
            key-positions = <3 4 5>;
            layers = <2>;
            bindings = <&m_c_1c>;
        };
        c_l2_3_4_5_7 {
            timeout-ms = <100>;
            key-positions = <3 4 5 7>;
            layers = <2>;
            bindings = <&m_c_1d>;
        };
        c_l2_3_4_6 {
            timeout-ms = <100>;
            key-positions = <3 4 6>;
            layers = <2>;
            bindings = <&m_c_1a>;
        };
        c_l2_3_4_6_7 {
            timeout-ms = <100>;
            key-positions = <3 4 6 7>;
            layers = <2>;
            bindings = <&m_c_1b>;
        };
        c_l2_3_4_7 {
            timeout-ms = <100>;
            key-positions = <3 4 7>;
            layers = <2>;
            bindings = <&m_c_19>;
        };
        c_l2_3_5 {
            timeout-ms = <100>;
            key-positions = <3 5>;
            layers = <2>;
            bindings = <&m_c_14>;
        };
        c_l2_3_5_6 {
            timeout-ms = <100>;
            key-positions = <3 5 6>;
            layers = <2>;
            bindings = <&m_c_16>;
        };
        c_l2_3_5_6_7 {
            timeout-ms = <100>;
            key-positions = <3 5 6 7>;
            layers = <2>;
            bindings = <&m_c_17>;
        };
        c_l2_3_5_7 {
            timeout-ms = <100>;
            key-positions = <3 5 7>;
            layers = <2>;
            bindings = <&m_c_15>;
        };
        c_l2_3_6 {
            timeout-ms = <100>;
            key-positions = <3 6>;
            layers = <2>;
            bindings = <&m_c_12>;
        };
        c_l2_3_6_7 {
            timeout-ms = <100>;
            key-positions = <3 6 7>;
            layers = <2>;
            bindings = <&m_c_13>;
        };
        c_l2_3_7 {
            timeout-ms = <100>;
            key-positions = <3 7>;
            layers = <2>;
            bindings = <&m_c_11>;
        };
        c_l2_4_5_6 {
            timeout-ms = <100>;
            key-positions = <4 5 6>;
            layers = <2>;
            bindings = <&to 0>;
        };
        c_l3_4_5_6 {
            timeout-ms = <100>;
            key-positions = <4 5 6>;
            layers = <3>;
            bindings = <&to 0>;
        };
        c_l4_4_5_6 {
            timeout-ms = <100>;
            key-positions = <4 5 6>;
            layers = <4>;
            bindings = <&to 0>;
        };
        c_l5_4_5_6 {
            timeout-ms = <100>;
            key-positions = <4 5 6>;
            layers = <5>;
            bindings = <&to 0>;
        };
        c_l6_4_5_6 {
            timeout-ms = <100>;
            key-positions = <4 5 6>;
            layers = <6>;
            bindings = <&to 0>;
        };
    };

    keymap {
        compatible = "zmk,keymap";
        default_layer {
            bindings = <
                &none  &none  &none  &none
                &none  &none  &none  &none
            >;
        };
        shift_armed_layer {
            bindings = <
                &none  &none  &none  &none
                &none  &none  &none  &none
            >;
        };
        ctrl_armed_layer {
            bindings = <
                &none  &none  &none  &none
                &none  &none  &none  &none
            >;
        };
        alt_armed_layer {
            bindings = <
                &none  &none  &none  &none
                &none  &none  &none  &none
            >;
        };
        shift_ctrl_armed_layer {
            bindings = <
                &none  &none  &none  &none
                &none  &none  &none  &none
            >;
        };
        shift_alt_armed_layer {
            bindings = <
                &none  &none  &none  &none
                &none  &none  &none  &none
            >;
        };
        ctrl_alt_armed_layer {
            bindings = <
                &none  &none  &none  &none
                &none  &none  &none  &none
            >;
        };
        shift_ctrl_alt_armed_layer {
            bindings = <
                &none  &none  &none  &none
                &none  &none  &none  &none
            >;
        };
    };

};
